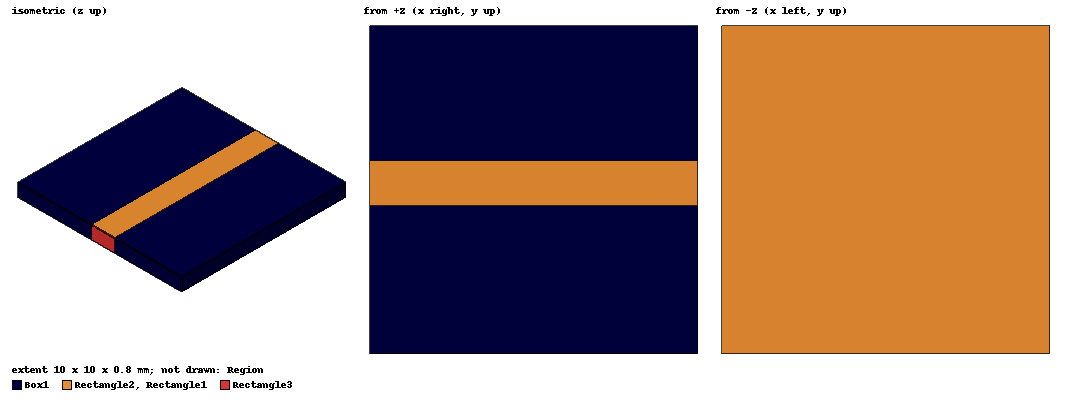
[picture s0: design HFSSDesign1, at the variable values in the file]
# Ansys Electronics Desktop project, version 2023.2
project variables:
  $width = 1.387mm
  $lengthoftrace = 10mm
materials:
  vacuum: permittivity=1
  FR4_epoxy: permittivity=4.4 dielectric_loss_tangent=0.02
  air: permittivity=1.0006 permeability=1.0000004

design HFSSDesign1 (HFSS, HFSS Terminal Network, model units mm)
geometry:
  Rectangle1 = rectangle(corner=(0mm, 0mm, 0mm), x_size=$lengthoftrace, y_size=$width)
  Box1 [FR4_epoxy] = box(corner=(0mm, -4.5mm, 0mm), size=($lengthoftrace, $lengthoftrace, -0.8mm))
  Rectangle2 = rectangle(corner=(10mm, -4.5mm, -0.8mm), x_size=-$lengthoftrace, y_size=$lengthoftrace)
  Rectangle3 = rectangle(corner=($lengthoftrace, 0mm, 0mm), y_size=$width, z_size=-0.8mm)
  Rectangle4 = rectangle(corner=(0mm, 0mm, 0mm), y_size=$width, z_size=-0.8mm)
  Region [air] = region(absolute_offset=10mm on all sides)
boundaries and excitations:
  PerfE1: Perfect E Objects=[Rectangle1, Rectangle2]
  Rad1: Radiation Objects=Region
  1: Lumped Port Objects=Rectangle3 LumpedPortType=Modal Modes{Mode1{IntLine{(10, 0.7, -0.8) -> (10, 0.75, 0)} CharImp=Zpi RenormImp=50ohm}} Impedance=50ohm
  2: Lumped Port Objects=Rectangle4 LumpedPortType=Modal Modes{Mode1{IntLine{(0, 0.6935, 0) -> (0, 0.7, -0.8)} CharImp=Zpi RenormImp=50ohm}} Impedance=50ohm
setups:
  Setup1: HfssDriven Frequency=868MHz MaxDeltaS=0.02 MaximumPasses=20 MinimumPasses=1 MinimumConvergedPasses=1 PercentRefinement=30 BasisOrder=1 PortAccuracy=2 DrivenSolverType="Direct Solver"
    sweep Sweep: 100MHz to 5GHz, 401 points; Type=Fast SaveFields
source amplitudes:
  1:1: 1V 0deg
  2:1: 0V 0deg
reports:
  Terminal Z Parameter Plot 1: re(Zt(2,1)), im(Zt(2,1)) vs Freq on Setup1 : Sweep; markers MX1 at x=8.6119396e+08
  VSWR Plot 1: VSWR(1), VSWR(2) vs Freq on Setup1 : Sweep; markers MX1 at x=8.5882116e+08

design Circuit1 (Circuit)
options: SParamCircuitDef IntegrationMethod=FFT
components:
  S3 = HFSSDesign2()
  port Port1 rz=50ohm iz=0ohm EnableNoise=false noisetemp=16.85cel
  port Port2 rz=50ohm iz=0ohm EnableNoise=false noisetemp=16.85cel
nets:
  Port1: S3.1
  Port2: S3.2
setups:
  LinearFrequency: LinearFrequencyData(false, 0.1, false, "", false) SweepDefinition{Variable=Freq Data="LINC 0.2GHz 5GHz 400"}
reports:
  Z Parameter Plot 1: re(Z(Port1,Port1)), mag(Z(Port1,Port1)), im(Z(Port1,Port1)) vs Freq on LinearFrequency : LinearFrequency; markers MX1 at x=8.6301736e+08
  S Parameter Chart 1: S(Port1,Port1) on LinearFrequency : LinearFrequency [Freq=all]
  S-Parameters: S(Port1,Port1) on LinearFrequency : LinearFrequency [Freq=all]
  S Parameter Plot 1: dB(S(Port1,Port1)) vs Freq on LinearFrequency : LinearFrequency
